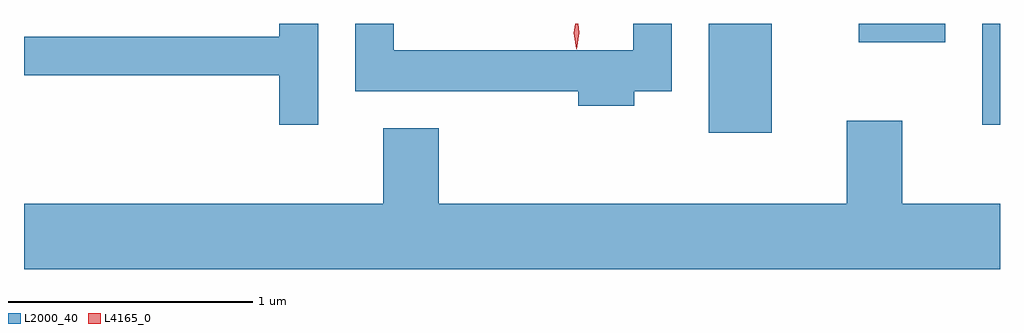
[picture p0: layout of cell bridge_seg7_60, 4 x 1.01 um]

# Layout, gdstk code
import gdstk
lib = gdstk.Library(unit=1e-6, precision=1e-09)
def R(c, l, rs):  # rectangles x0, y0, x1, y1
    for r in rs: c.add(gdstk.rectangle(r[:2], r[2:], *l))
def P(c, l, *ps):  # polygons
    for p in ps: c.add(gdstk.Polygon(p, *l))
L2000_40 = (2000, 40)
L4165_0 = (4165, 0)

bridge_seg7_60 = lib.new_cell('bridge_seg7_60')
R(bridge_seg7_60, L2000_40, [(1589.816,1805.896,1590.074,1806.342), (1590.936,1805.928,1591.009,1806.342), (1590.431,1806.266,1590.784,1806.342)])
P(bridge_seg7_60, L2000_40, [(1589.509,1806.066),(1589.664,1806.066),(1589.664,1806.342),(1589.506,1806.342),(1589.506,1806.234),(1588.524,1806.234),(1588.524,1806.342),(1588.366,1806.342),(1588.366,1806.066),(1589.281,1806.066),(1589.281,1806.006),(1589.509,1806.006)],
  [(1588.214,1806.342),(1588.056,1806.342),(1588.056,1806.289),(1587.009,1806.289),(1587.009,1806.131),(1588.056,1806.131),(1588.056,1805.928),(1588.214,1805.928)],
  [(1591.009,1805.604),(1590.609,1805.604),(1590.609,1805.944),(1590.381,1805.944),(1590.381,1805.604),(1588.709,1805.604),(1588.709,1805.914),(1588.481,1805.914),(1588.481,1805.604),(1587.009,1805.604),(1587.009,1805.336),(1591.009,1805.336)])
P(bridge_seg7_60, L4165_0, [(1589.274,1806.237),(1589.265,1806.306),(1589.27,1806.342),(1589.28,1806.342),(1589.285,1806.306),(1589.275,1806.237)],
  [(1589.273,1806.239),(1589.273,1806.24),(1589.263,1806.306),(1589.268,1806.342),(1589.278,1806.342),(1589.283,1806.306),(1589.274,1806.24)])

lib.write_gds('bridge_seg7_60.gds')
